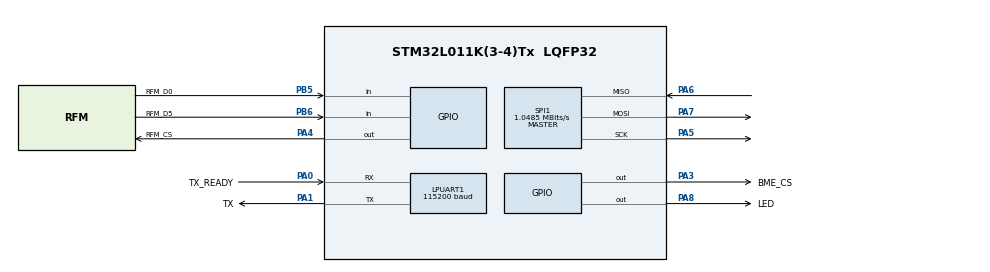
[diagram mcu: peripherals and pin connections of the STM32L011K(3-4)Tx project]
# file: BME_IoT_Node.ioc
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LPUART1.BaudRate=115200
LPUART1.Mode=UART_MODE_TX
LPUART1.WordLength=UART_WORDLENGTH_8B
Mcu.Family=STM32L0
Mcu.Name=STM32L011K(3-4)Tx
Mcu.Package=LQFP32
NVIC.RTC_IRQn=true\:0\:0\:false\:false\:true\:true\:true
PA0-CK_IN.GPIO_Label=TX_READY
PA0-CK_IN.Mode=Asynchronous
PA0-CK_IN.Signal=LPUART1_RX
PA1.GPIO_Label=TX
PA1.Mode=Asynchronous
PA1.Signal=LPUART1_TX
PA13.GPIO_Label=SWDIO
PA13.Mode=Serial_Wire
PA13.Signal=SYS_SWDIO
PA14.GPIO_Label=SWSLK
PA14.Mode=Serial_Wire
PA14.Signal=SYS_SWCLK
PA2.GPIO_Label=WKUP3
PA2.Mode=SYS_WakeUp2
PA2.Signal=SYS_WKUP3
PA3.GPIO_Label=BME_CS
PA3.Signal=GPIO_Output
PA4.GPIO_Label=RFM_CS
PA4.Signal=GPIO_Output
PA5.Mode=Full_Duplex_Master
PA5.Signal=SPI1_SCK
PA6.Mode=Full_Duplex_Master
PA6.Signal=SPI1_MISO
PA7.Mode=Full_Duplex_Master
PA7.Signal=SPI1_MOSI
PA8.GPIO_Label=LED
PA8.Signal=GPIO_Output
PB5.GPIO_Label=RFM_D0
PB5.Signal=GPIO_Input
PB6.GPIO_Label=RFM_D5
PB6.Signal=GPIO_Input
ProjectManager.HeapSize=0x200
ProjectManager.StackSize=0x400
ProjectManager.TargetToolchain=STM32CubeIDE
RCC.AHBFreq_Value=2097000
RCC.APB1Freq_Value=2097000
RCC.APB1TimFreq_Value=2097000
RCC.APB2Freq_Value=2097000
RCC.APB2TimFreq_Value=2097000
RCC.HSE_VALUE=8000000
RCC.HSI16_VALUE=16000000
RCC.HSI_VALUE=16000000
RCC.LSE_VALUE=32768
RCC.MSI_VALUE=2097000
RCC.SYSCLKFreq_VALUE=2097000
RCC.VCOOutputFreq_Value=48000000
SPI1.CalculateBaudRate=1.0485 MBits/s
SPI1.Direction=SPI_DIRECTION_2LINES
SPI1.Mode=SPI_MODE_MASTER
SPI1.VirtualType=VM_MASTER
VP_ADC_Vref_Input.Mode=IN-Vrefint
VP_RTC_VS_RTC_Activate.Mode=RTC_Enabled
VP_RTC_VS_RTC_WakeUp_intern.Mode=WakeUp
board=custom

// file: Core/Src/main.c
/* USER CODE BEGIN Header */
/**
  ******************************************************************************
  * @file           : main.c
  * @brief          : Main program body
  ******************************************************************************
  * @attention
  *
  * <h2><center>&copy; Copyright (c) 2020 STMicroelectronics.
  * All rights reserved.</center></h2>
  *
  * This software component is licensed by ST under BSD 3-Clause license,
  * the "License"; You may not use this file except in compliance with the
  * License. You may obtain a copy of the License at:
  *                        opensource.org/licenses/BSD-3-Clause
  *
  ******************************************************************************
  */
/* USER CODE END Header */
#include "main.h"

/* USER CODE BEGIN Includes */
#include <bme280.h>
#include <rfm95.h>
#include <lorawan.h>
#include <secconfig.h>

/* USER CODE END Includes */

/* USER CODE BEGIN PTD */
typedef struct pins {
	GPIO_TypeDef *port;
	uint32_t pin;
} pin_t;
/* USER CODE END PTD */

/* USER CODE BEGIN PD */

//no LED no UART after
#define QUIET_FRAME 10

/* USER CODE END PD */

RTC_HandleTypeDef hrtc;

/* USER CODE BEGIN PV */

// BME280 driver requires SPI read/write interface functions to use only one uint8 as device id.
// STM32 pins in LL libs are defined by port and pin so pin alone cannot be used as device id.
// To be able to reuse the same SPI functions for RFM and BME280, I use a dev -> port/pin mapping table
pin_t pins[] = {
{BME_CS_GPIO_Port, BME_CS_Pin},
{RFM_CS_GPIO_Port, RFM_CS_Pin},
{RFM_D0_GPIO_Port, RFM_D0_Pin},
{RFM_D5_GPIO_Port, RFM_D5_Pin},
};

typedef enum {
	BME280_CS_PIN_ID,
	RFM95_NSS_PIN_ID,
	RFM95_DIO0_PIN_ID,
	RFM95_DIO5_PIN_ID
}pin_id_t;

struct bme280_dev bme280_dev;
struct bme280_data bme280_data;
uint32_t bme280_delay;

rfm95_t rfm95_dev;
uint8_t rfm95_ver;
lorawan_t lorawan;
uint16_t frame_counter;
/* USER CODE END PV */

void SystemClock_Config(void);
static void MX_GPIO_Init(void);
static void MX_LPUART1_UART_Init(void);
static void MX_SPI1_Init(void);
static void MX_ADC_Init(void);
static void MX_RTC_Init(void);

/* USER CODE BEGIN 0 */
void putstr(const char *str)
{
	if(frame_counter > QUIET_FRAME)
		return;
	LL_LPUART_Enable(LPUART1);
	while(*str)
	{
		while(!LL_LPUART_IsActiveFlag_TXE(LPUART1));
		LL_LPUART_TransmitData8(LPUART1, (uint8_t)*str++);
	}
	while(!LL_LPUART_IsActiveFlag_TC(LPUART1));
	LL_LPUART_Disable(LPUART1);
}

void putul(unsigned long u)
{
	if(frame_counter > QUIET_FRAME)
		return;
	char num[11];
	char *d = &num[sizeof(num) - 1];
	*d = '\0';
	if(u)
	{
		while(u)
		{
			*(--d) = '0' + u % 10;
			u /= 10;
		}
	}
	else
	{
		*(--d) = '0';
	}
	putstr(d);
}

void puthex(uint8_t val)
{
	if(frame_counter > QUIET_FRAME)
		return;
	static char hex[] = "0123456789abcedf";
	char msg[3];
	msg[0] = hex[val >> 4];
	msg[1] = hex[val & 0xF];
	msg[2] = '\0';
	putstr(msg);
}

int8_t duplexSpi(uint8_t dev, uint8_t addr, uint8_t *data, uint16_t len)
{
	LL_SPI_Enable(SPI1);
	LL_GPIO_ResetOutputPin(pins[dev].port, pins[dev].pin);

	LL_SPI_TransmitData8(SPI1, addr);

	while(!LL_SPI_IsActiveFlag_RXNE(SPI1)); 		 // wait for rx to finish
	LL_SPI_ReceiveData8(SPI1);      	       		 // avoid overflow

	while(len--)
	{
		while (!LL_SPI_IsActiveFlag_TXE(SPI1));  // wait for tx to finish
	    LL_SPI_TransmitData8(SPI1, *data);       // send data or generate clock for slave

	    while (!LL_SPI_IsActiveFlag_RXNE(SPI1)); // wait for rx to finish
	    *data = LL_SPI_ReceiveData8(SPI1);       // read receive result
	    data++;
	}

	while (LL_SPI_IsActiveFlag_BSY(SPI1));
	LL_GPIO_SetOutputPin(pins[dev].port, pins[dev].pin);
	LL_SPI_Disable(SPI1);

	return 0;
}

uint8_t readPin(uint8_t dev)
{
	return LL_GPIO_IsInputPinSet(pins[dev].port, pins[dev].pin);
}

uint8_t *serialize(uint8_t *data, uint32_t value, size_t size)
{
	while(size--)
	{
		*(data++) = value & 0xFF;
		value >>= 8;
	}
	return data;
}

uint16_t getVdda()
{
	LL_ADC_Enable(ADC1);

	while(!LL_ADC_IsActiveFlag_ADRDY(ADC1));
	LL_ADC_REG_StartConversion(ADC1);
	while(!LL_ADC_IsActiveFlag_EOC(ADC1));

	uint16_t mV = LL_ADC_REG_ReadConversionData12(ADC1);
	mV = VREFINT_CAL_VREF*(*VREFINT_CAL_ADDR)/mV;

	while(!LL_ADC_IsActiveFlag_EOS(ADC1));
	LL_ADC_Disable(ADC1);

	return mV;
}

void bme_setup()
{
	bme280_dev.dev_id = BME280_CS_PIN_ID;
	bme280_dev.intf = BME280_SPI_INTF;
	bme280_dev.read = duplexSpi;
	bme280_dev.write = duplexSpi;
	bme280_dev.delay_ms = LL_mDelay;
	int bme_init = 0;

	while(!bme_init)
	{
		if(bme280_init(&bme280_dev) == BME280_OK)
		{
			bme280_dev.settings.osr_h = BME280_OVERSAMPLING_1X;
			bme280_dev.settings.osr_p = BME280_OVERSAMPLING_16X;
			bme280_dev.settings.osr_t = BME280_OVERSAMPLING_2X;
			bme280_dev.settings.filter = BME280_FILTER_COEFF_16;

			if(bme280_set_sensor_settings(BME280_OSR_PRESS_SEL | BME280_OSR_TEMP_SEL | BME280_OSR_HUM_SEL | BME280_FILTER_SEL, &bme280_dev) == BME280_OK)
			{
				bme280_delay = bme280_cal_meas_delay(&bme280_dev.settings);
				putstr("BME delayMs: ");
				putul(bme280_delay);
				if(bme280_delay)
				{
					bme_init = 1;
				}
			}
			else
			{
				putstr("BME Setup Error! \n");
			}
		}
		else
		{
			putstr("BME init error! \n");
		}

		if(!bme_init)
		{
			LL_mDelay(1000);
		}
	}
}

int bme_read()
{
	bme280_data.humidity = 0;
	if(bme280_set_sensor_mode(BME280_FORCED_MODE, &bme280_dev) == BME280_OK)
	{
		bme280_dev.delay_ms(bme280_delay);
		bme280_get_sensor_data(BME280_ALL, &bme280_data, &bme280_dev);
	}

	return 		bme280_data.humidity 	> 		   	0 && bme280_data.humidity 		<=	100000
			&&	bme280_data.pressure 	> 		 81000 && bme280_data.pressure 		<  110000
			&& bme280_data.temperature 	>		-50000 && bme280_data.temperature	<= 9500;
}

void bme_print()
{
	putstr("Pa");

	putstr("T: ");
	putul(bme280_data.temperature);

	putstr("'cÂ°C, H:");
	putul(bme280_data.humidity);

	putstr("m%, P:");
	putul(bme280_data.pressure);
}

void rfm_setup(uint32_t seed)
{
	rfm95_dev.nss_pin_id = RFM95_NSS_PIN_ID;
	rfm95_dev.dio0_pin_id = RFM95_DIO0_PIN_ID;
	rfm95_dev.dio5_pin_id = RFM95_DIO5_PIN_ID;

	rfm95_dev.spi_read = duplexSpi;
	rfm95_dev.spi_write = duplexSpi;
	rfm95_dev.delay = LL_mDelay;
	rfm95_dev.pin_read = readPin;

	while(rfm95_ver != 0x12)
	{
		rfm95_ver = rfm95_init(&rfm95_dev, seed);
	}

	lorawan_init(&lorawan, &rfm95_dev	);
	lorawan_set_keys(&lorawan, NwkSkey, AppSkey, DevAddr);

	//print test pack
	if(0)
	{
		uint8_t buf[8];
		for(size_t i = 0;i < sizeof(buf); i++)
		{
			buf[i] = i;
		}
		lorawan_send_data(&lorawan, buf, sizeof(buf), 0);
	}
}

/* USER CODE END 0 */

int main(void)
{

  /* MCU Configuration--------------------------------------------------------*/

  /* Reset of all peripherals, Initializes the Flash interface and the Systick. */
  HAL_Init();

  /* Configure the system clock */
  SystemClock_Config();

  /* Initialize all configured peripherals */
  MX_GPIO_Init();
  MX_LPUART1_UART_Init();
  MX_SPI1_Init();
  MX_ADC_Init();
  MX_RTC_Init();
  /* USER CODE BEGIN 2 */

  LL_GPIO_SetOutputPin(pins[BME280_CS_PIN_ID].port, pins[BME280_CS_PIN_ID].pin);
  LL_GPIO_SetOutputPin(pins[RFM95_NSS_PIN_ID].port, pins[RFM95_NSS_PIN_ID].pin);

  frame_counter = (uint16_t)HAL_RTCEx_BKUPRead(&hrtc, RTC_BKP_DR0);

  //Att: to LED to save power
  if(frame_counter <= QUIET_FRAME)
  {
	  LL_GPIO_SetOutputPin(LED_GPIO_Port, LED_Pin);
  }

  putstr("\nStart BME_IoT_Node" __DATE__ " " __TIME__ "device 0x");
  for(unsigned i = 0; i < 4; i++)
  {
	  puthex(DevAddr[i]);
  }

  if(__HAL_PWR_GET_FLAG(PWR_FLAG_SB) != RESET)
  {
	  putstr("from Standby");
	  __HAL_PWR_CLEAR_FLAG(PWR_FLAG_SB);
  }
  else
  {
	  putstr("from RESET. ");

	  //     At first power on give a button cell a bit of time
	  //     to charge a capacitor before sending something to prevent boot loop

	  LL_mDelay(5000);
  }

  rfm_setup(frame_counter);
  bme_setup();

  /* USER CODE END 2 */

  /* Infinite loop */
  while (1)
  {

  }
}

void SystemClock_Config(void)
{
  LL_FLASH_SetLatency(LL_FLASH_LATENCY_0);
  while(LL_FLASH_GetLatency()!= LL_FLASH_LATENCY_0)
  {
  }
  LL_PWR_SetRegulVoltageScaling(LL_PWR_REGU_VOLTAGE_SCALE1);
  LL_RCC_LSI_Enable();

   /* Wait till LSI is ready */
  while(LL_RCC_LSI_IsReady() != 1)
  {

  }
  LL_RCC_MSI_Enable();

   /* Wait till MSI is ready */
  while(LL_RCC_MSI_IsReady() != 1)
  {

  }
  LL_RCC_MSI_SetRange(LL_RCC_MSIRANGE_5);
  LL_RCC_MSI_SetCalibTrimming(0);
  LL_PWR_EnableBkUpAccess();
  LL_RCC_ForceBackupDomainReset();
  LL_RCC_ReleaseBackupDomainReset();
  LL_RCC_SetRTCClockSource(LL_RCC_RTC_CLKSOURCE_LSI);
  LL_RCC_EnableRTC();
  LL_RCC_SetAHBPrescaler(LL_RCC_SYSCLK_DIV_1);
  LL_RCC_SetAPB1Prescaler(LL_RCC_APB1_DIV_1);
  LL_RCC_SetAPB2Prescaler(LL_RCC_APB2_DIV_1);
  LL_RCC_SetSysClkSource(LL_RCC_SYS_CLKSOURCE_MSI);

   /* Wait till System clock is ready */
  while(LL_RCC_GetSysClkSource() != LL_RCC_SYS_CLKSOURCE_STATUS_MSI)
  {

  }
  LL_SetSystemCoreClock(2097000);

   /* Update the time base */
  if (HAL_InitTick (TICK_INT_PRIORITY) != HAL_OK)
  {
    Error_Handler();
  }
  LL_RCC_SetLPUARTClockSource(LL_RCC_LPUART1_CLKSOURCE_PCLK1);
}

static void MX_ADC_Init(void)
{

  LL_ADC_REG_InitTypeDef ADC_REG_InitStruct = {0};
  LL_ADC_InitTypeDef ADC_InitStruct = {0};

  /* Peripheral clock enable */
  LL_APB2_GRP1_EnableClock(LL_APB2_GRP1_PERIPH_ADC1);

  /** Configure Regular Channel
  */
  LL_ADC_REG_SetSequencerChAdd(ADC1, LL_ADC_CHANNEL_VREFINT);
  LL_ADC_SetCommonPathInternalCh(__LL_ADC_COMMON_INSTANCE(ADC1), LL_ADC_PATH_INTERNAL_VREFINT);
  /** Common config
  */
  ADC_REG_InitStruct.TriggerSource = LL_ADC_REG_TRIG_SOFTWARE;
  ADC_REG_InitStruct.SequencerDiscont = LL_ADC_REG_SEQ_DISCONT_DISABLE;
  ADC_REG_InitStruct.ContinuousMode = LL_ADC_REG_CONV_SINGLE;
  ADC_REG_InitStruct.DMATransfer = LL_ADC_REG_DMA_TRANSFER_NONE;
  ADC_REG_InitStruct.Overrun = LL_ADC_REG_OVR_DATA_PRESERVED;
  LL_ADC_REG_Init(ADC1, &ADC_REG_InitStruct);
  LL_ADC_SetSamplingTimeCommonChannels(ADC1, LL_ADC_SAMPLINGTIME_1CYCLE_5);
  LL_ADC_SetOverSamplingScope(ADC1, LL_ADC_OVS_DISABLE);
  LL_ADC_REG_SetSequencerScanDirection(ADC1, LL_ADC_REG_SEQ_SCAN_DIR_FORWARD);
  LL_ADC_SetCommonFrequencyMode(__LL_ADC_COMMON_INSTANCE(ADC1), LL_ADC_CLOCK_FREQ_MODE_LOW);
  LL_ADC_DisableIT_EOC(ADC1);
  LL_ADC_DisableIT_EOS(ADC1);

   /* Enable ADC internal voltage regulator */
   LL_ADC_EnableInternalRegulator(ADC1);
   /* Delay for ADC internal voltage regulator stabilization. */
   /* Compute number of CPU cycles to wait for, from delay in us. */
   /* Note: Variable divided by 2 to compensate partially */
   /* CPU processing cycles (depends on compilation optimization). */
   /* Note: If system core clock frequency is below 200kHz, wait time */
   /* is only a few CPU processing cycles. */
   uint32_t wait_loop_index;
   wait_loop_index = ((LL_ADC_DELAY_INTERNAL_REGUL_STAB_US * (SystemCoreClock / (100000 * 2))) / 10);
   while(wait_loop_index != 0)
     {
   wait_loop_index--;
     }
  ADC_InitStruct.Clock = LL_ADC_CLOCK_SYNC_PCLK_DIV1;
  ADC_InitStruct.Resolution = LL_ADC_RESOLUTION_12B;
  ADC_InitStruct.DataAlignment = LL_ADC_DATA_ALIGN_RIGHT;
  ADC_InitStruct.LowPowerMode = LL_ADC_LP_MODE_NONE;
  LL_ADC_Init(ADC1, &ADC_InitStruct);

}

static void MX_LPUART1_UART_Init(void)
{

  LL_LPUART_InitTypeDef LPUART_InitStruct = {0};

  LL_GPIO_InitTypeDef GPIO_InitStruct = {0};

  /* Peripheral clock enable */
  LL_APB1_GRP1_EnableClock(LL_APB1_GRP1_PERIPH_LPUART1);

  LL_IOP_GRP1_EnableClock(LL_IOP_GRP1_PERIPH_GPIOA);
  /**LPUART1 GPIO Configuration
  PA0-CK_IN   ------> LPUART1_RX
  PA1   ------> LPUART1_TX
  */
  GPIO_InitStruct.Pin = TX_READY_Pin;
  GPIO_InitStruct.Mode = LL_GPIO_MODE_ALTERNATE;
  GPIO_InitStruct.Speed = LL_GPIO_SPEED_FREQ_VERY_HIGH;
  GPIO_InitStruct.OutputType = LL_GPIO_OUTPUT_PUSHPULL;
  GPIO_InitStruct.Pull = LL_GPIO_PULL_NO;
  GPIO_InitStruct.Alternate = LL_GPIO_AF_6;
  LL_GPIO_Init(TX_READY_GPIO_Port, &GPIO_InitStruct);

  GPIO_InitStruct.Pin = TX_Pin;
  GPIO_InitStruct.Mode = LL_GPIO_MODE_ALTERNATE;
  GPIO_InitStruct.Speed = LL_GPIO_SPEED_FREQ_VERY_HIGH;
  GPIO_InitStruct.OutputType = LL_GPIO_OUTPUT_PUSHPULL;
  GPIO_InitStruct.Pull = LL_GPIO_PULL_NO;
  GPIO_InitStruct.Alternate = LL_GPIO_AF_6;
  LL_GPIO_Init(TX_GPIO_Port, &GPIO_InitStruct);

  LPUART_InitStruct.BaudRate = 115200;
  LPUART_InitStruct.DataWidth = LL_LPUART_DATAWIDTH_8B;
  LPUART_InitStruct.StopBits = LL_LPUART_STOPBITS_1;
  LPUART_InitStruct.Parity = LL_LPUART_PARITY_NONE;
  LPUART_InitStruct.TransferDirection = LL_LPUART_DIRECTION_TX;
  LPUART_InitStruct.HardwareFlowControl = LL_LPUART_HWCONTROL_NONE;
  LL_LPUART_Init(LPUART1, &LPUART_InitStruct);

}

static void MX_RTC_Init(void)
{

  /** Initialize RTC Only
  */
  hrtc.Instance = RTC;
  hrtc.Init.HourFormat = RTC_HOURFORMAT_24;
  hrtc.Init.AsynchPrediv = 127;
  hrtc.Init.SynchPrediv = 255;
  hrtc.Init.OutPut = RTC_OUTPUT_DISABLE;
  hrtc.Init.OutPutRemap = RTC_OUTPUT_REMAP_NONE;
  hrtc.Init.OutPutPolarity = RTC_OUTPUT_POLARITY_HIGH;
  hrtc.Init.OutPutType = RTC_OUTPUT_TYPE_OPENDRAIN;
  if (HAL_RTC_Init(&hrtc) != HAL_OK)
  {
    Error_Handler();
  }
  /** Enable the WakeUp
  */
  if (HAL_RTCEx_SetWakeUpTimer_IT(&hrtc, 0, RTC_WAKEUPCLOCK_RTCCLK_DIV16) != HAL_OK)
  {
    Error_Handler();
  }

}

static void MX_SPI1_Init(void)
{

  LL_SPI_InitTypeDef SPI_InitStruct = {0};

  LL_GPIO_InitTypeDef GPIO_InitStruct = {0};

  /* Peripheral clock enable */
  LL_APB2_GRP1_EnableClock(LL_APB2_GRP1_PERIPH_SPI1);

  LL_IOP_GRP1_EnableClock(LL_IOP_GRP1_PERIPH_GPIOA);
  /**SPI1 GPIO Configuration
  PA5   ------> SPI1_SCK
  PA6   ------> SPI1_MISO
  PA7   ------> SPI1_MOSI
  */
  GPIO_InitStruct.Pin = LL_GPIO_PIN_5;
  GPIO_InitStruct.Mode = LL_GPIO_MODE_ALTERNATE;
  GPIO_InitStruct.Speed = LL_GPIO_SPEED_FREQ_VERY_HIGH;
  GPIO_InitStruct.OutputType = LL_GPIO_OUTPUT_PUSHPULL;
  GPIO_InitStruct.Pull = LL_GPIO_PULL_NO;
  GPIO_InitStruct.Alternate = LL_GPIO_AF_0;
  LL_GPIO_Init(GPIOA, &GPIO_InitStruct);

  GPIO_InitStruct.Pin = LL_GPIO_PIN_6;
  GPIO_InitStruct.Mode = LL_GPIO_MODE_ALTERNATE;
  GPIO_InitStruct.Speed = LL_GPIO_SPEED_FREQ_VERY_HIGH;
  GPIO_InitStruct.OutputType = LL_GPIO_OUTPUT_PUSHPULL;
  GPIO_InitStruct.Pull = LL_GPIO_PULL_NO;
  GPIO_InitStruct.Alternate = LL_GPIO_AF_0;
  LL_GPIO_Init(GPIOA, &GPIO_InitStruct);

  GPIO_InitStruct.Pin = LL_GPIO_PIN_7;
  GPIO_InitStruct.Mode = LL_GPIO_MODE_ALTERNATE;
  GPIO_InitStruct.Speed = LL_GPIO_SPEED_FREQ_VERY_HIGH;
  GPIO_InitStruct.OutputType = LL_GPIO_OUTPUT_PUSHPULL;
  GPIO_InitStruct.Pull = LL_GPIO_PULL_NO;
  GPIO_InitStruct.Alternate = LL_GPIO_AF_0;
  LL_GPIO_Init(GPIOA, &GPIO_InitStruct);

  /* SPI1 parameter configuration*/
  SPI_InitStruct.TransferDirection = LL_SPI_FULL_DUPLEX;
  SPI_InitStruct.Mode = LL_SPI_MODE_MASTER;
  SPI_InitStruct.DataWidth = LL_SPI_DATAWIDTH_8BIT;
  SPI_InitStruct.ClockPolarity = LL_SPI_POLARITY_LOW;
  SPI_InitStruct.ClockPhase = LL_SPI_PHASE_1EDGE;
  SPI_InitStruct.NSS = LL_SPI_NSS_SOFT;
  SPI_InitStruct.BaudRate = LL_SPI_BAUDRATEPRESCALER_DIV2;
  SPI_InitStruct.BitOrder = LL_SPI_MSB_FIRST;
  SPI_InitStruct.CRCCalculation = LL_SPI_CRCCALCULATION_DISABLE;
  SPI_InitStruct.CRCPoly = 7;
  LL_SPI_Init(SPI1, &SPI_InitStruct);
  LL_SPI_SetStandard(SPI1, LL_SPI_PROTOCOL_MOTOROLA);

}

static void MX_GPIO_Init(void)
{
  LL_GPIO_InitTypeDef GPIO_InitStruct = {0};

  /* GPIO Ports Clock Enable */
  LL_IOP_GRP1_EnableClock(LL_IOP_GRP1_PERIPH_GPIOA);
  LL_IOP_GRP1_EnableClock(LL_IOP_GRP1_PERIPH_GPIOB);

  /**/
  LL_GPIO_ResetOutputPin(BME_CS_GPIO_Port, BME_CS_Pin);

  /**/
  LL_GPIO_ResetOutputPin(RFM_CS_GPIO_Port, RFM_CS_Pin);

  /**/
  LL_GPIO_ResetOutputPin(LED_GPIO_Port, LED_Pin);

  /**/
  GPIO_InitStruct.Pin = BME_CS_Pin;
  GPIO_InitStruct.Mode = LL_GPIO_MODE_OUTPUT;
  GPIO_InitStruct.Speed = LL_GPIO_SPEED_FREQ_LOW;
  GPIO_InitStruct.OutputType = LL_GPIO_OUTPUT_PUSHPULL;
  GPIO_InitStruct.Pull = LL_GPIO_PULL_NO;
  LL_GPIO_Init(BME_CS_GPIO_Port, &GPIO_InitStruct);

  /**/
  GPIO_InitStruct.Pin = RFM_CS_Pin;
  GPIO_InitStruct.Mode = LL_GPIO_MODE_OUTPUT;
  GPIO_InitStruct.Speed = LL_GPIO_SPEED_FREQ_LOW;
  GPIO_InitStruct.OutputType = LL_GPIO_OUTPUT_PUSHPULL;
  GPIO_InitStruct.Pull = LL_GPIO_PULL_NO;
  LL_GPIO_Init(RFM_CS_GPIO_Port, &GPIO_InitStruct);

  /**/
  GPIO_InitStruct.Pin = LED_Pin;
  GPIO_InitStruct.Mode = LL_GPIO_MODE_OUTPUT;
  GPIO_InitStruct.Speed = LL_GPIO_SPEED_FREQ_LOW;
  GPIO_InitStruct.OutputType = LL_GPIO_OUTPUT_PUSHPULL;
  GPIO_InitStruct.Pull = LL_GPIO_PULL_NO;
  LL_GPIO_Init(LED_GPIO_Port, &GPIO_InitStruct);

  /**/
  GPIO_InitStruct.Pin = RFM_D0_Pin;
  GPIO_InitStruct.Mode = LL_GPIO_MODE_INPUT;
  GPIO_InitStruct.Pull = LL_GPIO_PULL_NO;
  LL_GPIO_Init(RFM_D0_GPIO_Port, &GPIO_InitStruct);

  /**/
  GPIO_InitStruct.Pin = RFM_D5_Pin;
  GPIO_InitStruct.Mode = LL_GPIO_MODE_INPUT;
  GPIO_InitStruct.Pull = LL_GPIO_PULL_NO;
  LL_GPIO_Init(RFM_D5_GPIO_Port, &GPIO_InitStruct);

}

void Error_Handler(void)
{
}

/************************ (C) COPYRIGHT STMicroelectronics *****END OF FILE****/
